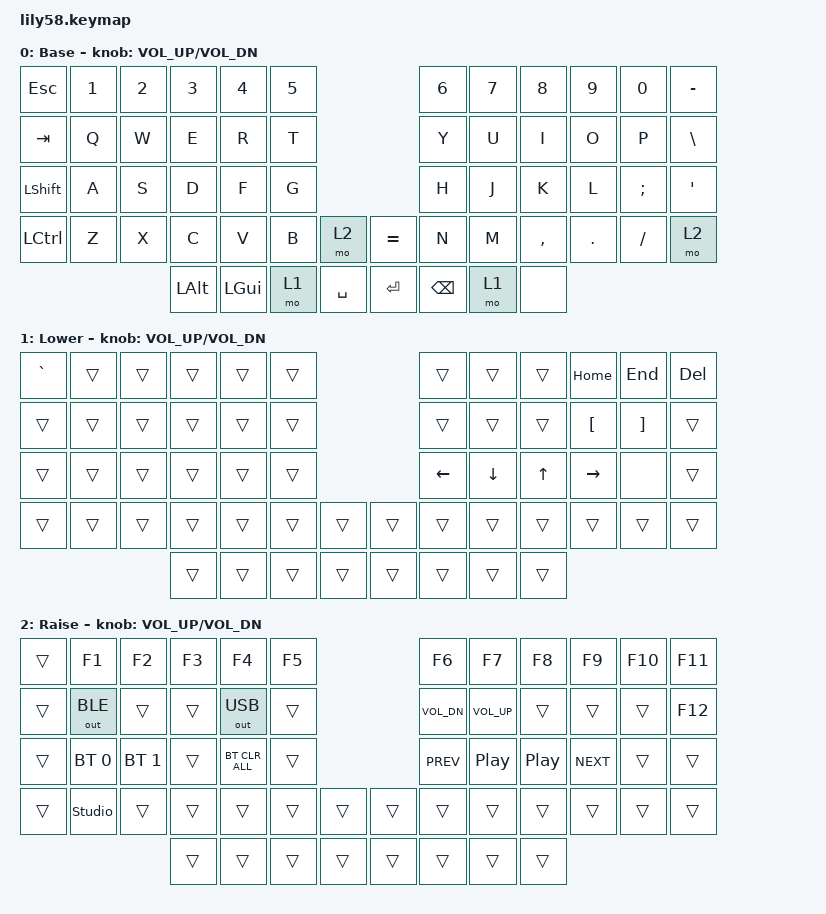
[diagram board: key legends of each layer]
/*
 * Copyright (c) 2020 The ZMK Contributors
 *
 * SPDX-License-Identifier: MIT
 */

#include <behaviors.dtsi>
#include <dt-bindings/zmk/keys.h>
#include <dt-bindings/zmk/bt.h>
#include <dt-bindings/zmk/ext_power.h>
#include <dt-bindings/zmk/outputs.h>

/ {
    keymap {
        compatible = "zmk,keymap";

        default_layer {
            display-name = "Base";
            bindings = <
&kp ESC   &kp N1 &kp N2 &kp N3   &kp N4   &kp N5                      &kp N6    &kp N7   &kp N8    &kp N9  &kp N0   &kp MINUS
&kp TAB   &kp Q  &kp W  &kp E    &kp R    &kp T                       &kp Y     &kp U    &kp I     &kp O   &kp P    &kp BSLH
&kp LSHFT &kp A  &kp S  &kp D    &kp F    &kp G                       &kp H     &kp J    &kp K     &kp L   &kp SEMI &kp SQT
&kp LCTRL &kp Z  &kp X  &kp C    &kp V    &kp B  &mo 2      &kp EQUAL &kp N     &kp M    &kp COMMA &kp DOT &kp FSLH &mo 2
                        &kp LALT &kp LGUI &mo 1  &kp SPACE  &kp RET   &kp BSPC  &mo 1    &none    
            >;

            sensor-bindings = <&inc_dec_kp C_VOL_UP C_VOL_DN>;
        };

        lower_layer {
            display-name = "Lower";
            bindings = <
&kp GRAVE  &trans        &trans       &trans       &trans       &trans                         &trans       &trans    &trans    &kp HOME  &kp END  &kp DEL
&trans     &trans        &trans       &trans       &trans       &trans                         &trans       &trans    &trans    &kp LBKT  &kp RBKT &trans
&trans     &trans        &trans       &trans       &trans       &trans                         &kp LEFT     &kp DOWN  &kp UP    &kp RIGHT &none    &trans
&trans     &trans        &trans       &trans       &trans       &trans       &trans   &trans   &trans       &trans    &trans    &trans    &trans   &trans
                                      &trans       &trans       &trans       &trans   &trans   &trans       &trans    &trans
            >;

            sensor-bindings = <&inc_dec_kp C_VOL_UP C_VOL_DN>;
        };

        raise_layer {
            display-name = "Raise";
            bindings = <
&trans &kp F1       &kp F2       &kp F3        &kp F4         &kp F5                          &kp F6       &kp F7       &kp F8    &kp F9    &kp F10   &kp F11
&trans &out OUT_BLE &trans       &trans        &out OUT_USB   &trans                          &kp C_VOL_DN &kp C_VOL_UP &trans   &trans     &trans    &kp F12
&trans &bt BT_SEL 0 &bt BT_SEL 1 &trans        &bt BT_CLR_ALL &trans                          &kp C_PREV   &kp C_PP     &kp C_PP &kp C_NEXT &trans    &trans
&trans &studio_unlock &trans     &trans        &trans         &trans    &trans   &trans      &trans       &trans       &trans   &trans     &trans    &trans
                                 &trans        &trans         &trans    &trans   &trans       &trans       &trans       &trans
            >;

            sensor-bindings = <&inc_dec_kp C_VOL_UP C_VOL_DN>;
        };
    };
};
